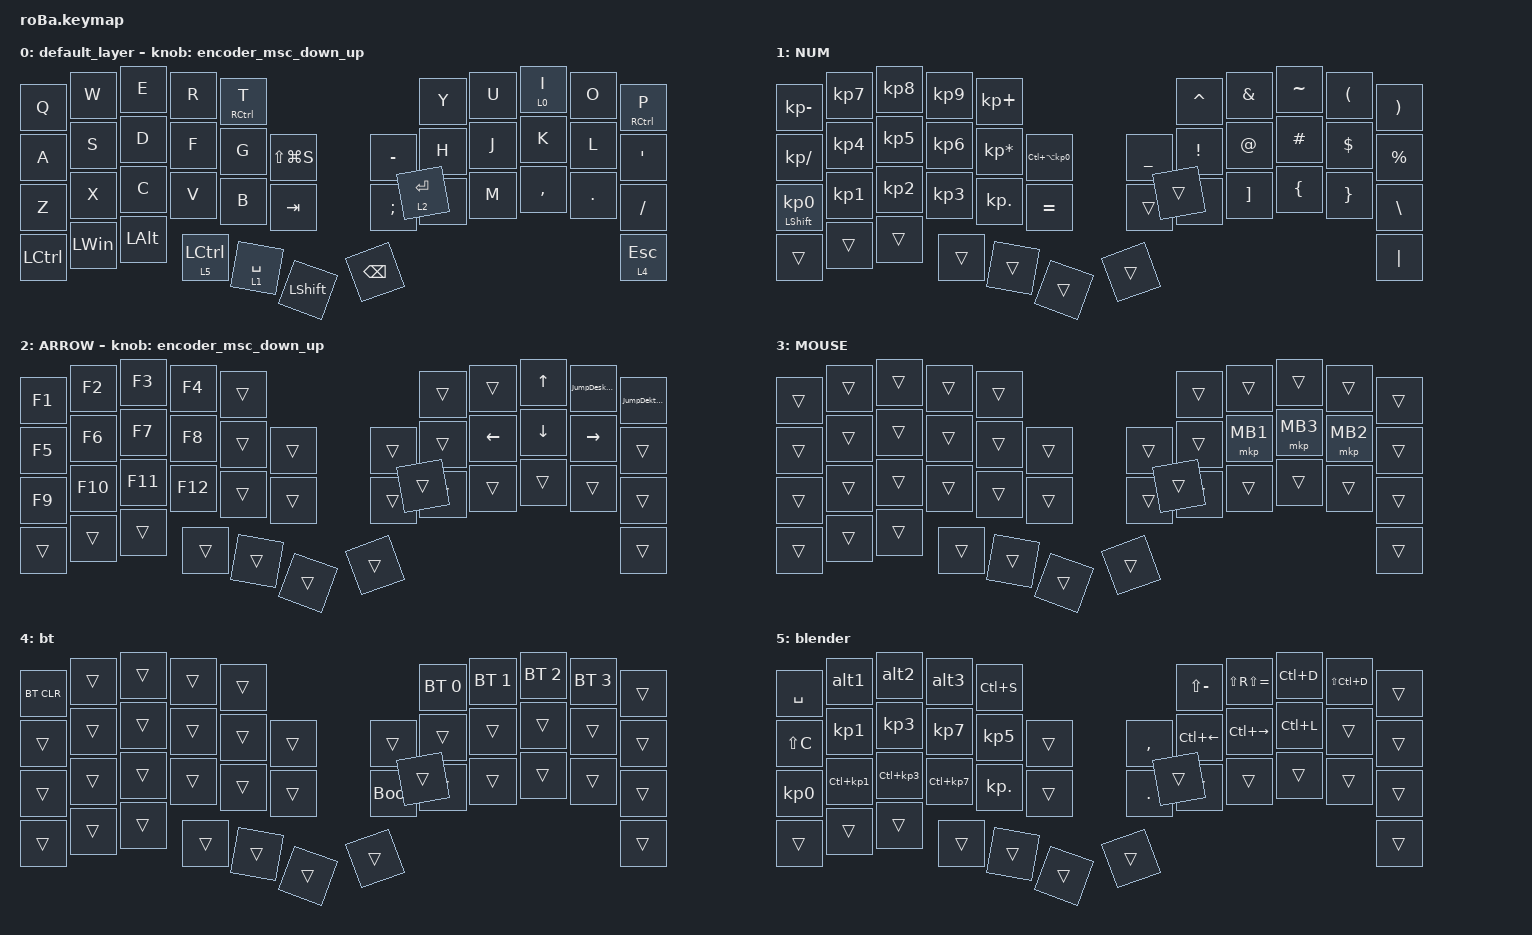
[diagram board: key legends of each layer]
#include <behaviors.dtsi>
#include <dt-bindings/zmk/bt.h>
#include <dt-bindings/zmk/keys.h>
#include <dt-bindings/zmk/pointing.h>

#define ZMK_POINTING_DEFAULT_SCRL_VAL 80

&mkp_input_listener { input-processors = <&zip_temp_layer 3 10000>; };

&mt {
    flavor = "balanced";
    quick-tap-ms = <0>;
};

&trackball {
    //automouse-layer = <3>;
    //scroll-layers = <5>;
    // arrows {
    //     layers = <3>;
    //     bindings =
    //         <&kp RIGHT_ARROW>,
    //         <&kp LEFT_ARROW>,
    //         <&kp UP_ARROW>,
    //         <&kp DOWN_ARROW>;
    //     tick = <10>;
    //     wait-ms = <5>;
    //     tap-ms = <5>;
    // };
};

/ {
    combos { compatible = "zmk,combos"; };

    macros {
        to_layer_0: to_layer_0 {
            compatible = "zmk,behavior-macro-one-param";
            #binding-cells = <1>;
            bindings = <&to 0 &macro_param_1to1 &kp MACRO_PLACEHOLDER>;
            label = "TO_LAYER_0";
        };

        alt1: alt1 {
            compatible = "zmk,behavior-macro";
            #binding-cells = <0>;
            bindings = <&kp LA(NUMBER_1)>;
            label = "ALT1";
        };

        alt2: alt2 {
            compatible = "zmk,behavior-macro";
            #binding-cells = <0>;
            bindings = <&kp LA(NUMBER_2)>;
            label = "ALT2";
        };

        alt3: alt3 {
            compatible = "zmk,behavior-macro";
            #binding-cells = <0>;
            bindings = <&kp LA(NUMBER_3)>;
            label = "ALT3";
        };

        JumpDektopNext: JumpDektopNext {
            compatible = "zmk,behavior-macro";
            #binding-cells = <0>;
            bindings = <&kp LG(LA(RIGHT_ARROW))>;
            label = "JUMPDEKTOPNEXT";
        };

        JumpDesktopPrev: JumpDesktopPrev {
            compatible = "zmk,behavior-macro";
            #binding-cells = <0>;
            bindings = <&kp LG(LA(LEFT_ARROW))>;
            label = "JUMPDESKTOPPREV";
        };
    };

    behaviors {
        lt_to_layer_0: lt_to_layer_0 {
            compatible = "zmk,behavior-hold-tap";
            label = "LAYER_TAP_TO_0";
            bindings = <&mo>, <&to_layer_0>;

            #binding-cells = <2>;
            tapping-term-ms = <200>;
        };

        encoder_msc_down_up: encoder_msc_down_up {
            compatible = "zmk,behavior-sensor-rotate";
            label = "ENCODER_MSC_DOWN_UP";
            #sensor-binding-cells = <0>;

            //bindings = <&msc SCRL_DOWN>, <&msc SCRL_UP>;
            //bindings = <&msc MOVE_Y(-75)>, <&msc MOVE_Y(75)>;
            //tap-ms = <20>;

            bindings = <&msc SCRL_DOWN>, <&msc SCRL_UP>;
            //bindings = <&msc MOVE_Y(-8)>, <&msc MOVE_Y(8)>;
            tap-ms = <20>;
        };
    };

    keymap {
        compatible = "zmk,keymap";

        default_layer {
            bindings = <
&kp Q      &kp W         &kp E         &kp R                   &mt RCTRL T                                     &kp Y        &kp U  &lt 0 I    &kp O    &mt RCTRL P
&kp A      &kp S         &kp D         &kp F                   &kp G        &kp LS(LG(S))       &kp MINUS      &kp H        &kp J  &kp K      &kp L    &kp SQT
&kp Z      &kp X         &kp C         &kp V                   &kp B        &kp TAB             &kp SEMICOLON  &kp N        &kp M  &kp COMMA  &kp DOT  &kp SLASH
&kp LCTRL  &kp LEFT_WIN  &kp LEFT_ALT  &lt_to_layer_0 5 LCTRL  &lt 1 SPACE  &kp LEFT_SHIFT      &kp BACKSPACE  &lt 2 ENTER                             &lt 4 ESC
            >;

            sensor-bindings = <&encoder_msc_down_up>;
        };

        NUM {
            bindings = <
&kp KP_MINUS                &kp KP_NUMBER_7  &kp KP_NUMBER_8  &kp KP_NUMBER_9  &kp KP_PLUS                                                   &kp CARET         &kp AMPERSAND      &kp TILDE       &kp LEFT_PARENTHESIS  &kp RIGHT_PARENTHESIS
&kp KP_SLASH                &kp KP_NUMBER_4  &kp KP_NUMBER_5  &kp KP_NUMBER_6  &kp KP_ASTERISK  &kp LC(LA(KP_NUMBER_0))      &kp UNDERSCORE  &kp EXCLAMATION   &kp AT_SIGN        &kp HASH        &kp DOLLAR            &kp PERCENT
&mt LEFT_SHIFT KP_NUMBER_0  &kp KP_NUMBER_1  &kp KP_NUMBER_2  &kp KP_NUMBER_3  &kp KP_DOT       &kp EQUAL                    &trans          &kp LEFT_BRACKET  &kp RIGHT_BRACKET  &kp LEFT_BRACE  &kp RIGHT_BRACE       &kp BACKSLASH
&trans                      &trans           &trans           &trans           &trans           &trans                       &trans          &trans                                                                     &kp PIPE
            >;
        };

        ARROW {
            bindings = <
&kp F1  &kp F2   &kp F3   &kp F4   &trans                      &trans  &trans          &kp UP_ARROW    &JumpDesktopPrev  &JumpDektopNext
&kp F5  &kp F6   &kp F7   &kp F8   &trans  &trans      &trans  &trans  &kp LEFT_ARROW  &kp DOWN_ARROW  &kp RIGHT_ARROW   &trans
&kp F9  &kp F10  &kp F11  &kp F12  &trans  &trans      &trans  &trans  &trans          &trans          &trans            &trans
&trans  &trans   &trans   &trans   &trans  &trans      &trans  &trans                                                    &trans
            >;

            sensor-bindings = <&encoder_msc_down_up>;
        };

        MOUSE {
            bindings = <
&trans  &trans  &trans  &trans  &trans                      &trans  &trans    &trans    &trans    &trans
&trans  &trans  &trans  &trans  &trans  &trans      &trans  &trans  &mkp MB1  &mkp MB3  &mkp MB2  &trans
&trans  &trans  &trans  &trans  &trans  &trans      &trans  &trans  &trans    &trans    &trans    &trans
&trans  &trans  &trans  &trans  &trans  &trans      &trans  &trans                                &trans
            >;
        };

        bt {
            bindings = <
&bt BT_CLR  &trans  &trans  &trans  &trans                           &bt BT_SEL 0  &bt BT_SEL 1  &bt BT_SEL 2  &bt BT_SEL 3  &trans
&trans      &trans  &trans  &trans  &trans  &trans      &trans       &trans        &trans        &trans        &trans        &trans
&trans      &trans  &trans  &trans  &trans  &trans      &bootloader  &trans        &trans        &trans        &trans        &trans
&trans      &trans  &trans  &trans  &trans  &trans      &trans       &trans                                                  &trans
            >;
        };

        blender {
            bindings = <
&kp SPACE  &alt1                &alt2                &alt3                &kp LC(S)                                &kp LS(MINUS)       &kp LS(RS(EQUAL))    &kp LC(D)  &kp LS(LC(D))  &trans
&kp LS(C)  &kp KP_N1            &kp KP_NUMBER_3      &kp KP_NUMBER_7      &kp KP_NUMBER_5  &trans      &kp COMMA   &kp LC(LEFT_ARROW)  &kp LC(RIGHT_ARROW)  &kp LC(L)  &trans         &trans
&kp KP_N0  &kp LC(KP_NUMBER_1)  &kp LC(KP_NUMBER_3)  &kp LC(KP_NUMBER_7)  &kp KP_DOT       &trans      &kp PERIOD  &trans              &trans               &trans     &trans         &trans
&trans     &trans               &trans               &trans               &trans           &trans      &trans      &trans                                                             &trans
            >;
        };
    };
};
